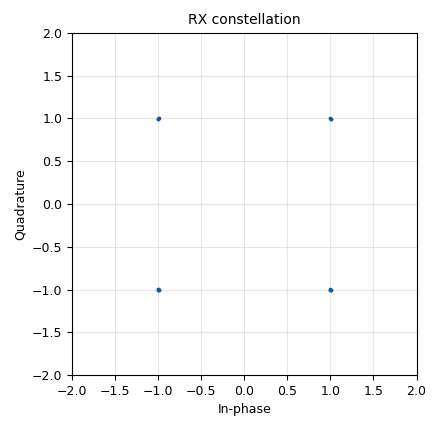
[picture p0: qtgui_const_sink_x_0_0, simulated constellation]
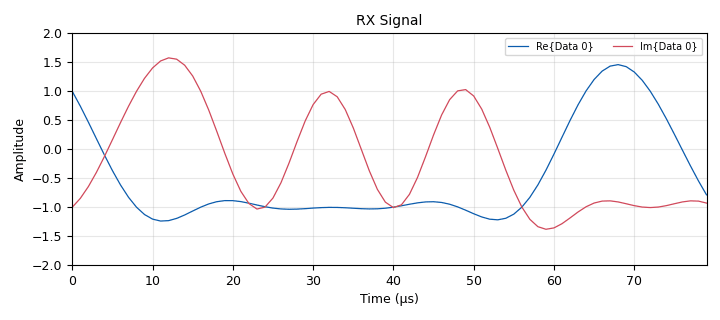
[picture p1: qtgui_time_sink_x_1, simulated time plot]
<?xml version='1.0' encoding='utf-8'?>
<?grc format='1' created='3.7.8'?>
<flow_graph>
<block>
<key>options</key>
<param><key>id</key><value>demo_synchronisation</value></param>
<param><key>author</key><value>Felix Wunsch</value></param>
<param><key>category</key><value>Custom</value></param>
<param><key>description</key><value>Effekte bei fehlender Synchronisation</value></param>
<param><key>generate_options</key><value>qt_gui</value></param>
<param><key>title</key><value>Demonstration Synchronisation</value></param>
</block>
<block>
<key>variable</key>
<param><key>id</key><value>M</value></param>
<param><key>value</key><value>8</value></param>
</block>
<block>
<key>variable_qtgui_range</key>
<param><key>id</key><value>delay</value></param>
<param><key>value</key><value>0</value></param>
<param><key>gui_hint</key><value>0,0,1,2</value></param>
<param><key>label</key><value>Delay</value></param>
<param><key>orient</key><value>Qt.Horizontal</value></param>
<param><key>start</key><value>-2*M</value></param>
<param><key>step</key><value>1</value></param>
<param><key>stop</key><value>2*M</value></param>
<param><key>rangeType</key><value>int</value></param>
</block>
<block>
<key>variable_qtgui_range</key>
<param><key>id</key><value>f_off</value></param>
<param><key>value</key><value>0</value></param>
<param><key>gui_hint</key><value>0,2,1,2</value></param>
<param><key>label</key><value>Frequency offset</value></param>
<param><key>orient</key><value>Qt.Horizontal</value></param>
<param><key>start</key><value>-samp_rate/M/2</value></param>
<param><key>step</key><value>10</value></param>
<param><key>stop</key><value>samp_rate/M/2</value></param>
</block>
<block>
<key>variable_qtgui_range</key>
<param><key>id</key><value>noise_ampl</value></param>
<param><key>value</key><value>0</value></param>
<param><key>gui_hint</key><value>1,2,1,2</value></param>
<param><key>label</key><value>Noise amplitude</value></param>
<param><key>orient</key><value>Qt.Horizontal</value></param>
<param><key>start</key><value>0</value></param>
<param><key>step</key><value>.01</value></param>
<param><key>stop</key><value>1</value></param>
</block>
<block>
<key>variable_qtgui_range</key>
<param><key>id</key><value>phi_off</value></param>
<param><key>value</key><value>0</value></param>
<param><key>gui_hint</key><value>1,0,1,2</value></param>
<param><key>label</key><value>Phase offset</value></param>
<param><key>orient</key><value>Qt.Horizontal</value></param>
<param><key>start</key><value>-np.pi</value></param>
<param><key>step</key><value>.1</value></param>
<param><key>stop</key><value>np.pi</value></param>
</block>
<block>
<key>variable_rrc_filter_taps</key>
<param><key>id</key><value>rrc_taps</value></param>
<param><key>alpha</key><value>0.35</value></param>
<param><key>gain</key><value>1.0</value></param>
<param><key>ntaps</key><value>11*M</value></param>
<param><key>samp_rate</key><value>samp_rate</value></param>
<param><key>sym_rate</key><value>samp_rate/M</value></param>
</block>
<block>
<key>variable</key>
<param><key>id</key><value>samp_rate</value></param>
<param><key>value</key><value>1e6</value></param>
</block>
<block>
<key>analog_noise_source_x</key>
<param><key>id</key><value>analog_noise_source_x_0</value></param>
<param><key>amp</key><value>noise_ampl</value></param>
<param><key>noise_type</key><value>analog.GR_GAUSSIAN</value></param>
<param><key>type</key><value>complex</value></param>
<param><key>seed</key><value>0</value></param>
</block>
<block>
<key>analog_random_source_x</key>
<param><key>id</key><value>analog_random_source_x_0</value></param>
<param><key>max</key><value>4</value></param>
<param><key>min</key><value>0</value></param>
<param><key>num_samps</key><value>1000</value></param>
<param><key>type</key><value>int</value></param>
<param><key>repeat</key><value>True</value></param>
</block>
<block>
<key>analog_sig_source_x</key>
<param><key>id</key><value>analog_sig_source_x_0</value></param>
<param><key>amp</key><value>1</value></param>
<param><key>freq</key><value>f_off</value></param>
<param><key>offset</key><value>0</value></param>
<param><key>type</key><value>complex</value></param>
<param><key>samp_rate</key><value>samp_rate</value></param>
<param><key>waveform</key><value>analog.GR_COS_WAVE</value></param>
</block>
<block>
<key>blocks_add_xx</key>
<param><key>id</key><value>blocks_add_xx_0</value></param>
<param><key>type</key><value>complex</value></param>
</block>
<block>
<key>blocks_delay</key>
<param><key>id</key><value>blocks_delay_0</value></param>
<param><key>delay</key><value>delay</value></param>
<param><key>type</key><value>complex</value></param>
</block>
<block>
<key>blocks_keep_m_in_n</key>
<param><key>id</key><value>blocks_keep_m_in_n_0</value></param>
<param><key>m</key><value>1</value></param>
<param><key>n</key><value>M</value></param>
<param><key>type</key><value>complex</value></param>
<param><key>offset</key><value>0</value></param>
</block>
<block>
<key>blocks_multiply_const_vxx</key>
<param><key>id</key><value>blocks_multiply_const_vxx_0</value></param>
<param><key>const</key><value>np.exp(1j*phi_off)</value></param>
<param><key>type</key><value>complex</value></param>
</block>
<block>
<key>blocks_multiply_xx</key>
<param><key>id</key><value>blocks_multiply_xx_0</value></param>
<param><key>type</key><value>complex</value></param>
</block>
<block>
<key>blocks_throttle</key>
<param><key>id</key><value>blocks_throttle_0</value></param>
<param><key>samples_per_second</key><value>samp_rate</value></param>
<param><key>type</key><value>int</value></param>
</block>
<block>
<key>digital_chunks_to_symbols_xx</key>
<param><key>id</key><value>digital_chunks_to_symbols_xx_0</value></param>
<param><key>dimension</key><value>1</value></param>
<param><key>in_type</key><value>int</value></param>
<param><key>out_type</key><value>complex</value></param>
<param><key>symbol_table</key><value>[1+1j, -1+1j, 1-1j, -1-1j]</value></param>
</block>
<block>
<key>fir_filter_xxx</key>
<param><key>id</key><value>fir_filter_xxx_0</value></param>
<param><key>decim</key><value>1</value></param>
<param><key>taps</key><value>rrc_taps/np.sqrt(np.inner(rrc_taps, rrc_taps))</value></param>
<param><key>type</key><value>ccf</value></param>
</block>
<block>
<key>import</key>
<param><key>id</key><value>import_0</value></param>
<param><key>import</key><value>import numpy as np</value></param>
</block>
<block>
<key>interp_fir_filter_xxx</key>
<param><key>id</key><value>interp_fir_filter_xxx_0</value></param>
<param><key>interp</key><value>M</value></param>
<param><key>taps</key><value>rrc_taps/np.sqrt(np.inner(rrc_taps, rrc_taps))</value></param>
<param><key>type</key><value>ccf</value></param>
</block>
<block>
<key>qtgui_const_sink_x</key>
<param><key>id</key><value>qtgui_const_sink_x_0</value></param>
<param><key>_enabled</key><value>0</value></param>
<param><key>gui_hint</key><value>2,0,2,2</value></param>
<param><key>name</key><value>"TX constellation"</value></param>
<param><key>size</key><value>100</value></param>
<param><key>type</key><value>complex</value></param>
</block>
<block>
<key>qtgui_const_sink_x</key>
<param><key>id</key><value>qtgui_const_sink_x_0_0</value></param>
<param><key>gui_hint</key><value>4,0,2,2</value></param>
<param><key>name</key><value>"RX constellation"</value></param>
<param><key>size</key><value>40</value></param>
<param><key>type</key><value>complex</value></param>
</block>
<block>
<key>qtgui_time_sink_x</key>
<param><key>id</key><value>qtgui_time_sink_x_0</value></param>
<param><key>_enabled</key><value>0</value></param>
<param><key>gui_hint</key><value>2,2,2,2</value></param>
<param><key>color1</key><value>"blue"</value></param>
<param><key>label1</key><value></value></param>
<param><key>color2</key><value>"red"</value></param>
<param><key>label2</key><value></value></param>
<param><key>name</key><value>"TX time signal"</value></param>
<param><key>size</key><value>M*10</value></param>
<param><key>srate</key><value>samp_rate</value></param>
<param><key>type</key><value>complex</value></param>
</block>
<block>
<key>qtgui_time_sink_x</key>
<param><key>id</key><value>qtgui_time_sink_x_1</value></param>
<param><key>gui_hint</key><value>4,2,2,2</value></param>
<param><key>color1</key><value>"blue"</value></param>
<param><key>label1</key><value></value></param>
<param><key>color2</key><value>"red"</value></param>
<param><key>label2</key><value></value></param>
<param><key>name</key><value>"RX Signal"</value></param>
<param><key>size</key><value>M*10</value></param>
<param><key>srate</key><value>samp_rate</value></param>
<param><key>type</key><value>complex</value></param>
<param><key>ymax</key><value>2</value></param>
<param><key>ymin</key><value>-2</value></param>
</block>
<block>
<key>virtual_sink</key>
<param><key>id</key><value>virtual_sink_0</value></param>
<param><key>stream_id</key><value>tx</value></param>
</block>
<block>
<key>virtual_sink</key>
<param><key>id</key><value>virtual_sink_1</value></param>
<param><key>stream_id</key><value>rx</value></param>
</block>
<block>
<key>virtual_source</key>
<param><key>id</key><value>virtual_source_0</value></param>
<param><key>stream_id</key><value>tx</value></param>
</block>
<block>
<key>virtual_source</key>
<param><key>id</key><value>virtual_source_0_0</value></param>
<param><key>stream_id</key><value>rx</value></param>
</block>
<connection><source_block_id>analog_noise_source_x_0</source_block_id><sink_block_id>blocks_add_xx_0</sink_block_id><source_key>0</source_key><sink_key>1</sink_key></connection>
<connection><source_block_id>analog_random_source_x_0</source_block_id><sink_block_id>blocks_throttle_0</sink_block_id><source_key>0</source_key><sink_key>0</sink_key></connection>
<connection><source_block_id>analog_sig_source_x_0</source_block_id><sink_block_id>blocks_multiply_xx_0</sink_block_id><source_key>0</source_key><sink_key>1</sink_key></connection>
<connection><source_block_id>blocks_add_xx_0</source_block_id><sink_block_id>virtual_sink_1</sink_block_id><source_key>0</source_key><sink_key>0</sink_key></connection>
<connection><source_block_id>blocks_delay_0</source_block_id><sink_block_id>blocks_multiply_const_vxx_0</sink_block_id><source_key>0</source_key><sink_key>0</sink_key></connection>
<connection><source_block_id>blocks_keep_m_in_n_0</source_block_id><sink_block_id>qtgui_const_sink_x_0_0</sink_block_id><source_key>0</source_key><sink_key>0</sink_key></connection>
<connection><source_block_id>blocks_multiply_const_vxx_0</source_block_id><sink_block_id>blocks_multiply_xx_0</sink_block_id><source_key>0</source_key><sink_key>0</sink_key></connection>
<connection><source_block_id>blocks_multiply_xx_0</source_block_id><sink_block_id>blocks_add_xx_0</sink_block_id><source_key>0</source_key><sink_key>0</sink_key></connection>
<connection><source_block_id>blocks_throttle_0</source_block_id><sink_block_id>digital_chunks_to_symbols_xx_0</sink_block_id><source_key>0</source_key><sink_key>0</sink_key></connection>
<connection><source_block_id>digital_chunks_to_symbols_xx_0</source_block_id><sink_block_id>interp_fir_filter_xxx_0</sink_block_id><source_key>0</source_key><sink_key>0</sink_key></connection>
<connection><source_block_id>digital_chunks_to_symbols_xx_0</source_block_id><sink_block_id>qtgui_const_sink_x_0</sink_block_id><source_key>0</source_key><sink_key>0</sink_key></connection>
<connection><source_block_id>fir_filter_xxx_0</source_block_id><sink_block_id>blocks_keep_m_in_n_0</sink_block_id><source_key>0</source_key><sink_key>0</sink_key></connection>
<connection><source_block_id>fir_filter_xxx_0</source_block_id><sink_block_id>qtgui_time_sink_x_1</sink_block_id><source_key>0</source_key><sink_key>0</sink_key></connection>
<connection><source_block_id>interp_fir_filter_xxx_0</source_block_id><sink_block_id>qtgui_time_sink_x_0</sink_block_id><source_key>0</source_key><sink_key>0</sink_key></connection>
<connection><source_block_id>interp_fir_filter_xxx_0</source_block_id><sink_block_id>virtual_sink_0</sink_block_id><source_key>0</source_key><sink_key>0</sink_key></connection>
<connection><source_block_id>virtual_source_0</source_block_id><sink_block_id>blocks_delay_0</sink_block_id><source_key>0</source_key><sink_key>0</sink_key></connection>
<connection><source_block_id>virtual_source_0_0</source_block_id><sink_block_id>fir_filter_xxx_0</sink_block_id><source_key>0</source_key><sink_key>0</sink_key></connection>
</flow_graph>
